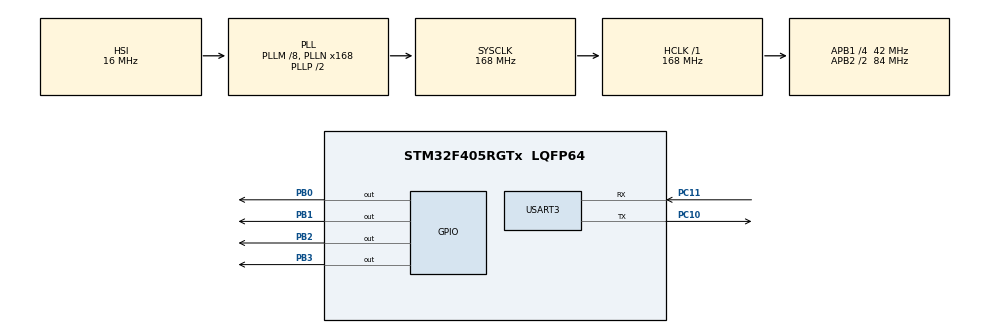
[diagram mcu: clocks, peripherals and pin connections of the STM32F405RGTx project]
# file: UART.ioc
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FREERTOS.Tasks01=Blink01,24,128,StartDefaultTask,Default,NULL,Dynamic,NULL,NULL;Printing,16,128,StartTask02,Default,NULL,Dynamic,NULL,NULL
Mcu.Family=STM32F4
Mcu.Name=STM32F405RGTx
Mcu.Package=LQFP64
NVIC.PriorityGroup=NVIC_PRIORITYGROUP_4
NVIC.USART3_IRQn=true\:5\:0\:false\:false\:true\:true\:true\:true\:true
PA13.Mode=Serial_Wire
PA13.Signal=SYS_JTMS-SWDIO
PA14.Mode=Serial_Wire
PA14.Signal=SYS_JTCK-SWCLK
PB0.Signal=GPIO_Output
PB1.Signal=GPIO_Output
PB2.Signal=GPIO_Output
PB3.Signal=GPIO_Output
PC10.Mode=Asynchronous
PC10.Signal=USART3_TX
PC11.Mode=Asynchronous
PC11.Signal=USART3_RX
PH0-OSC_IN.Mode=HSE-External-Oscillator
PH0-OSC_IN.Signal=RCC_OSC_IN
PH1-OSC_OUT.Mode=HSE-External-Oscillator
PH1-OSC_OUT.Signal=RCC_OSC_OUT
ProjectManager.HeapSize=0x200
ProjectManager.StackSize=0x400
ProjectManager.TargetToolchain=STM32CubeIDE
RCC.48MHZClocksFreq_Value=84000000
RCC.AHBFreq_Value=168000000
RCC.APB1CLKDivider=RCC_HCLK_DIV4
RCC.APB1Freq_Value=42000000
RCC.APB1TimFreq_Value=84000000
RCC.APB2CLKDivider=RCC_HCLK_DIV2
RCC.APB2Freq_Value=84000000
RCC.APB2TimFreq_Value=168000000
RCC.CortexFreq_Value=168000000
RCC.HCLKFreq_Value=168000000
RCC.HSE_VALUE=8000000
RCC.HSI_VALUE=16000000
RCC.LSE_VALUE=32768
RCC.PLLM=8
RCC.PLLN=168
RCC.SYSCLKFreq_VALUE=168000000
RCC.SYSCLKSource=RCC_SYSCLKSOURCE_PLLCLK
RCC.VCOOutputFreq_Value=336000000
USART3.VirtualMode=VM_ASYNC
VP_FREERTOS_VS_CMSIS_V2.Mode=CMSIS_V2
board=custom

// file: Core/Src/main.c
/* USER CODE BEGIN Header */
/**
  ******************************************************************************
  * @file           : main.c
  * @brief          : Main program body
  ******************************************************************************
  * @attention
  *
  * Copyright (c) 2022 STMicroelectronics.
  * All rights reserved.
  *
  * This software is licensed under terms that can be found in the LICENSE file
  * in the root directory of this software component.
  * If no LICENSE file comes with this software, it is provided AS-IS.
  *
  ******************************************************************************
  */
/* USER CODE END Header */
#include "main.h"
#include "cmsis_os.h"

/* USER CODE BEGIN Includes */
#include "string.h"
#include "stdio.h"
/* USER CODE END Includes */

UART_HandleTypeDef huart3;

/* Definitions for Blink01 */
osThreadId_t Blink01Handle;
const osThreadAttr_t Blink01_attributes = {
  .name = "Blink01",
  .stack_size = 128 * 4,
  .priority = (osPriority_t) osPriorityNormal,
};
/* Definitions for Printing */
osThreadId_t PrintingHandle;
const osThreadAttr_t Printing_attributes = {
  .name = "Printing",
  .stack_size = 128 * 4,
  .priority = (osPriority_t) osPriorityBelowNormal,
};

void SystemClock_Config(void);
static void MX_GPIO_Init(void);
static void MX_USART3_UART_Init(void);
void StartDefaultTask(void *argument);
void StartTask02(void *argument);

/* USER CODE BEGIN PFP */
#define MAX_BUFFER_SIZE 100

#ifdef __GNUC__
#define PUTCHAR_PROTOTYPE int __io_putchar(int ch)
#else
#define PUTCHAR_PROTOTYPE int fputc(int ch, FILE *f)
#endif /* __GNUC__ */

/**
  * @brief  Retargets the C library printf function to the USART.
  * @param  None
  * @retval None
  */
PUTCHAR_PROTOTYPE
{
  HAL_UART_Transmit(&huart3, (uint8_t *)&ch, 1, 300);
  return ch;
}

typedef struct
{
	uint8_t flag;
	uint8_t buff[MAX_BUFFER_SIZE];
	uint8_t index;
} Uart_Typedef;

static uint8_t	data_rx;
//uint32_t cntr = 0;
//uint8_t is_timeout;
Uart_Typedef huart_data;
/* USER CODE END PFP */

/* USER CODE BEGIN 0 */

void HAL_UART_RxCpltCallback(UART_HandleTypeDef *huart)
{
	if(huart->Instance == huart3.Instance)
	{
//		is_timeout = 0;
		if(data_rx == '\n')
		{
			huart_data.flag = 1;
		}
		else
		{
//			if(is_timeout == 1)
//			{
//				HAL_UART_Transmit(&huart3, "Timeout Errors\n", 15, 300);
//				memset(huart_data.buff, 0, MAX_BUFFER_SIZE);
//				huart_data.index = 0;
//				cntr = 0;
//			}
//			else
//			{
			huart_data.buff[huart_data.index++] = data_rx;
			if(huart_data.index > 100)
			{
				huart_data.index = 0;
			}
//			}
		}
		HAL_UART_Receive_IT(&huart3, &data_rx, 1);
	}
}

/* USER CODE END 0 */

int main(void)
{

  /* MCU Configuration--------------------------------------------------------*/

  /* Reset of all peripherals, Initializes the Flash interface and the Systick. */
  HAL_Init();

  /* Configure the system clock */
  SystemClock_Config();

  /* Initialize all configured peripherals */
  MX_GPIO_Init();
  MX_USART3_UART_Init();
  /* USER CODE BEGIN 2 */
  HAL_UART_Receive_IT(&huart3, &data_rx, 1);
  /* USER CODE END 2 */

  /* Init scheduler */
  osKernelInitialize();

  /* Create the thread(s) */
  /* creation of Blink01 */
  Blink01Handle = osThreadNew(StartDefaultTask, NULL, &Blink01_attributes);

  /* creation of Printing */
  PrintingHandle = osThreadNew(StartTask02, NULL, &Printing_attributes);

  /* Start scheduler */
  osKernelStart();

  /* We should never get here as control is now taken by the scheduler */
  /* Infinite loop */
  while (1)
  {

  }
}

void SystemClock_Config(void)
{
  RCC_OscInitTypeDef RCC_OscInitStruct = {0};
  RCC_ClkInitTypeDef RCC_ClkInitStruct = {0};

  /** Configure the main internal regulator output voltage
  */
  __HAL_RCC_PWR_CLK_ENABLE();
  __HAL_PWR_VOLTAGESCALING_CONFIG(PWR_REGULATOR_VOLTAGE_SCALE1);

  /** Initializes the RCC Oscillators according to the specified parameters
  * in the RCC_OscInitTypeDef structure.
  */
  RCC_OscInitStruct.OscillatorType = RCC_OSCILLATORTYPE_HSI;
  RCC_OscInitStruct.HSIState = RCC_HSI_ON;
  RCC_OscInitStruct.HSICalibrationValue = RCC_HSICALIBRATION_DEFAULT;
  RCC_OscInitStruct.PLL.PLLState = RCC_PLL_ON;
  RCC_OscInitStruct.PLL.PLLSource = RCC_PLLSOURCE_HSI;
  RCC_OscInitStruct.PLL.PLLM = 8;
  RCC_OscInitStruct.PLL.PLLN = 168;
  RCC_OscInitStruct.PLL.PLLP = RCC_PLLP_DIV2;
  RCC_OscInitStruct.PLL.PLLQ = 4;
  if (HAL_RCC_OscConfig(&RCC_OscInitStruct) != HAL_OK)
  {
    Error_Handler();
  }

  /** Initializes the CPU, AHB and APB buses clocks
  */
  RCC_ClkInitStruct.ClockType = RCC_CLOCKTYPE_HCLK|RCC_CLOCKTYPE_SYSCLK
                              |RCC_CLOCKTYPE_PCLK1|RCC_CLOCKTYPE_PCLK2;
  RCC_ClkInitStruct.SYSCLKSource = RCC_SYSCLKSOURCE_PLLCLK;
  RCC_ClkInitStruct.AHBCLKDivider = RCC_SYSCLK_DIV1;
  RCC_ClkInitStruct.APB1CLKDivider = RCC_HCLK_DIV4;
  RCC_ClkInitStruct.APB2CLKDivider = RCC_HCLK_DIV2;

  if (HAL_RCC_ClockConfig(&RCC_ClkInitStruct, FLASH_LATENCY_5) != HAL_OK)
  {
    Error_Handler();
  }
}

static void MX_USART3_UART_Init(void)
{

  huart3.Instance = USART3;
  huart3.Init.BaudRate = 115200;
  huart3.Init.WordLength = UART_WORDLENGTH_8B;
  huart3.Init.StopBits = UART_STOPBITS_1;
  huart3.Init.Parity = UART_PARITY_NONE;
  huart3.Init.Mode = UART_MODE_TX_RX;
  huart3.Init.HwFlowCtl = UART_HWCONTROL_NONE;
  huart3.Init.OverSampling = UART_OVERSAMPLING_16;
  if (HAL_UART_Init(&huart3) != HAL_OK)
  {
    Error_Handler();
  }

}

static void MX_GPIO_Init(void)
{
  GPIO_InitTypeDef GPIO_InitStruct = {0};

  /* GPIO Ports Clock Enable */
  __HAL_RCC_GPIOH_CLK_ENABLE();
  __HAL_RCC_GPIOB_CLK_ENABLE();
  __HAL_RCC_GPIOA_CLK_ENABLE();
  __HAL_RCC_GPIOC_CLK_ENABLE();

  /*Configure GPIO pin Output Level */
  HAL_GPIO_WritePin(GPIOB, GPIO_PIN_0|GPIO_PIN_1|GPIO_PIN_2|GPIO_PIN_3, GPIO_PIN_RESET);

  /*Configure GPIO pins : PB0 PB1 PB2 PB3 */
  GPIO_InitStruct.Pin = GPIO_PIN_0|GPIO_PIN_1|GPIO_PIN_2|GPIO_PIN_3;
  GPIO_InitStruct.Mode = GPIO_MODE_OUTPUT_PP;
  GPIO_InitStruct.Pull = GPIO_NOPULL;
  GPIO_InitStruct.Speed = GPIO_SPEED_FREQ_LOW;
  HAL_GPIO_Init(GPIOB, &GPIO_InitStruct);

}

void StartDefaultTask(void *argument)
{
  /* USER CODE BEGIN 5 */
  /* Infinite loop */
	  for(;;)
	  {
		printf("Program running...\n");
	    osDelay(500);
	  }
  /* USER CODE END 5 */
}

void StartTask02(void *argument)
{
  /* USER CODE BEGIN StartTask02 */
  /* Infinite loop */
  for(;;)
  	{
  	if(huart_data.flag == 1)
  		  {
  			  if(strstr((char *)huart_data.buff, "Led ON"))
  			  {
  				  if(strstr((char *)huart_data.buff, "1"))
  				  {
  					  HAL_GPIO_WritePin(GPIOB, GPIO_PIN_0, GPIO_PIN_SET);
  					  HAL_UART_Transmit(&huart3, "LED 1 ON ALREADY\n", 17, 300);
  				  }
  				  if(strstr((char *)huart_data.buff, "2"))
  				  {
  					  HAL_GPIO_WritePin(GPIOB, GPIO_PIN_1, GPIO_PIN_SET);
  					  HAL_UART_Transmit(&huart3, "LED 2 ON ALREADY\n", 17, 300);
  				  }
  				  if(strstr((char *)huart_data.buff, "3"))
  				  {
  					  HAL_GPIO_WritePin(GPIOB, GPIO_PIN_2, GPIO_PIN_SET);
  					  HAL_UART_Transmit(&huart3, "LED 3 ON ALREADY\n", 17, 300);
  				  }
  				  if(strstr((char *)huart_data.buff, "4"))
  				  {
  					  HAL_GPIO_WritePin(GPIOB, GPIO_PIN_3, GPIO_PIN_SET);
  					  HAL_UART_Transmit(&huart3, "LED 4 ON ALREADY\n", 17, 300);
  				  }
  			  }
  			  else if(strstr((char *)huart_data.buff, "Led OFF"))
  			  {
  				  if(strstr((char *)huart_data.buff, "1"))
  				  {
  					  HAL_GPIO_WritePin(GPIOB, GPIO_PIN_0, GPIO_PIN_RESET);
  					  HAL_UART_Transmit(&huart3, "LED 1 OFF ALREADY\n", 18, 300);
  				  }
  				  if(strstr((char *)huart_data.buff, "2"))
  				  {
  					  HAL_GPIO_WritePin(GPIOB, GPIO_PIN_1, GPIO_PIN_RESET);
  					  HAL_UART_Transmit(&huart3, "LED 2 OFF ALREADY\n", 18, 300);
  				  }
  				  if(strstr((char *)huart_data.buff, "3"))
  				  {
  					  HAL_GPIO_WritePin(GPIOB, GPIO_PIN_2, GPIO_PIN_RESET);
  					  HAL_UART_Transmit(&huart3, "LED 3 OFF ALREADY\n", 18, 300);
  				  }
  				  if(strstr((char *)huart_data.buff, "4"))
  				  {
  					  HAL_GPIO_WritePin(GPIOB, GPIO_PIN_3, GPIO_PIN_RESET);
  					  HAL_UART_Transmit(&huart3, "LED 4 OFF ALREADY\n", 18, 300);
  				  }
  			  }
  			  else
  				  printf("Wrong Message\n");
  			  //HAL_UART_Transmit(&huart1, huart_data.buff, huart_data.index, 100);
  			  memset(huart_data.buff, 0, MAX_BUFFER_SIZE);
  			  huart_data.index = 0;
  			  huart_data.flag = 0;
  		  }
  	}
  /* USER CODE END StartTask02 */
}

void Error_Handler(void)
{
  __disable_irq();
  while (1)
  {
  }
}
